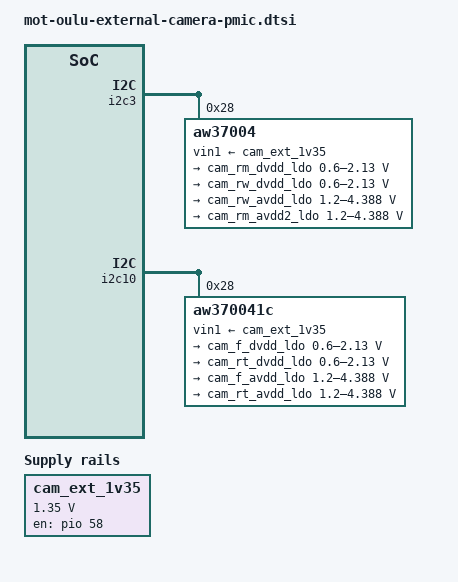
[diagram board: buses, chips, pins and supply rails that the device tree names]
&odm{
    cam_ext_1v35: gpio58-fixed {
        compatible = "regulator-fixed";
        regulator-name = "vcam_ext_gpio_regulator";
        regulator-min-microvolt = <1350000>;
        regulator-max-microvolt = <1350000>;
        enable-active-high;
        regulator-always-on;
        regulator-boot-on;
        gpio = <&pio 58 0x0>;
    };
};

&i2c3{
    aw37004: aw37004@28 {
	status = "okay";
	compatible = "aw37004";
	reg = <0x28>;
	cs-gpios = <&pio 77 0>;
	vin1-supply = <&cam_ext_1v35>;
	// vin2-supply = <&vBB>;
	init-value = <0x00>;
    	regulators{
		cam_rm_dvdd_ldo: ldo1 {
			regulator-name = "aw37004_ldo1";
			regulator-min-microvolt = <600000>;
			regulator-max-microvolt = <2130000>;
		};

		cam_rw_dvdd_ldo: ldo2 {
			regulator-name = "aw37004_ldo2";
			regulator-min-microvolt = <600000>;
			regulator-max-microvolt = <2130000>;

		};

		cam_rw_avdd_ldo: ldo3 {
			regulator-name = "aw37004_ldo3";
			regulator-min-microvolt = <1200000>;
			regulator-max-microvolt = <4387500>;

		};

		cam_rm_avdd2_ldo: ldo4 {
			regulator-name = "aw37004_ldo4";
			regulator-min-microvolt = <1200000>;
			regulator-max-microvolt = <4387500>;

		};
	};
};
};

&i2c10{
    aw370041c: aw370041c@28 {
	status = "okay";
	compatible = "aw370041c";
	reg = <0x28>;
	cs-gpios = <&pio 57 0>;
	vin1-supply = <&cam_ext_1v35>;
	// vin2-supply = <&vBB>;
	init-value = <0x00>;
    	regulators{
		cam_f_dvdd_ldo: ldo1 {
			regulator-name = "aw370041c_ldo1";
			regulator-min-microvolt = <600000>;
			regulator-max-microvolt = <2130000>;
		};

		cam_rt_dvdd_ldo: ldo2 {
			regulator-name = "aw370041c_ldo2";
			regulator-min-microvolt = <600000>;
			regulator-max-microvolt = <2130000>;

		};

		cam_f_avdd_ldo: ldo3 {
			regulator-name = "aw370041c_ldo3";
			regulator-min-microvolt = <1200000>;
			regulator-max-microvolt = <4387500>;

		};

		cam_rt_avdd_ldo: ldo4 {
			regulator-name = "aw370041c_ldo4";
			regulator-min-microvolt = <1200000>;
			regulator-max-microvolt = <4387500>;

		};
	};
};
};

